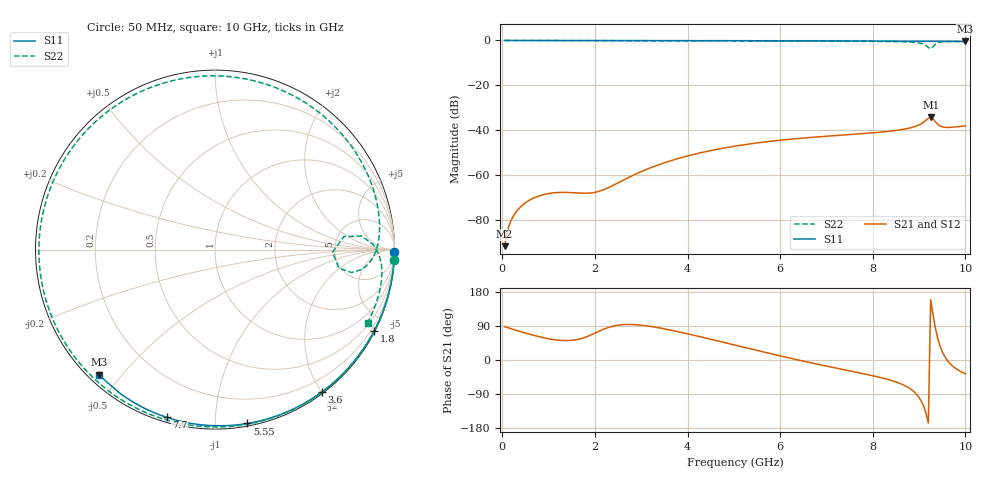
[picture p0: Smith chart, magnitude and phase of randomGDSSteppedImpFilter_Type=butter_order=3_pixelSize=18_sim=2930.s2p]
! freq	dB(S11)	phase(S11)	dB(S12)	phase(S12)
!  dB(S21)	phase(S21)	dB(S22)	phase(S22)
!S-par simulation data
#  GHz  S  DB  R 50
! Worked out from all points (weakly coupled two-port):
!   200 points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, 50 MHz to 10 GHz, reference 50 ohm
!   highest |S21| = -34.33 dB at 9.25 GHz (marker M1); lowest = -91.8 dB at 50 MHz (marker M2)
!   lowest |S11| = -0.5 dB at 10 GHz (marker M3), VSWR 38.46, Z = 1.55 - j21.8 ohm
!   |S11| at or under -10 dB: nowhere
!   |S22| runs from -3.7 to 0.0 dB; largest |S21 - S12| = 0
!   S11 on the Smith chart (normalised r, x): 50 MHz: open; 1.8 GHz: 0.04, -4.13; 3.6 GHz: 0.02, -2.00; 5.55 GHz: 0.02, -1.20; 7.7 GHz: 0.02, -0.75; 10 GHz: 0.03, -0.44
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0.05  -0.00 -0.8  -91.83 88.0  -91.83 88.0  -0.00 -3.2
0.2  -0.01 -3.1  -79.88 82.2  -79.88 82.2  -0.01 -12.7
0.55  -0.01 -8.4  -71.76 69.3  -71.76 69.3  -0.05 -34.4
0.95  -0.02 -14.5  -68.53 57.3  -68.53 57.3  -0.07 -58.1
1.35  -0.03 -20.5  -67.81 51.3  -67.81 51.3  -0.09 -80.1
1.75  -0.03 -26.5  -68.19 58.1  -68.19 58.1  -0.11 -100.2
1.8  -0.03 -27.2  -68.20 60.2  -68.20 60.2  -0.11 -102.6
2.6  -0.05 -38.9  -62.48 93.2  -62.48 93.2  -0.13 -137.7
3.4  -0.07 -50.4  -55.31 84.5  -55.31 84.5  -0.15 -168.1
3.6  -0.07 -53.2  -53.93 79.7  -53.93 79.7  -0.16 -175.2
4.3  -0.09 -62.9  -50.06 60.6  -50.06 60.6  -0.18 160.7
5.05  -0.11 -72.9  -47.09 38.6  -47.09 38.6  -0.22 135.6
5.55  -0.13 -79.4  -45.61 23.8  -45.61 23.8  -0.24 119.0
6.7  -0.18 -94.0  -43.23 -8.3  -43.23 -8.3  -0.30 80.1
7.7  -0.24 -106.1  -41.75 -33.7  -41.75 -33.7  -0.38 45.4
8.35  -0.29 -113.8  -40.55 -52.2  -40.55 -52.2  -0.49 22.5
8.95  -0.33 -120.8  -38.14 -91.2  -38.14 -91.2  -0.96 -0.7
9.15  -0.35 -123.2  -35.61 -140.7  -35.61 -140.7  -2.26 -9.5
9.25  -0.37 -124.4  -34.33 159.2  -34.33 159.2  -3.68 -1.3
9.35  -0.40 -125.4  -36.22 85.7  -36.22 85.7  -1.72 5.3
9.5  -0.41 -127.1  -38.57 21.9  -38.57 21.9  -0.63 -4.9
10  -0.45 -132.8  -38.14 -36.4  -38.14 -36.4  -0.51 -25.6
